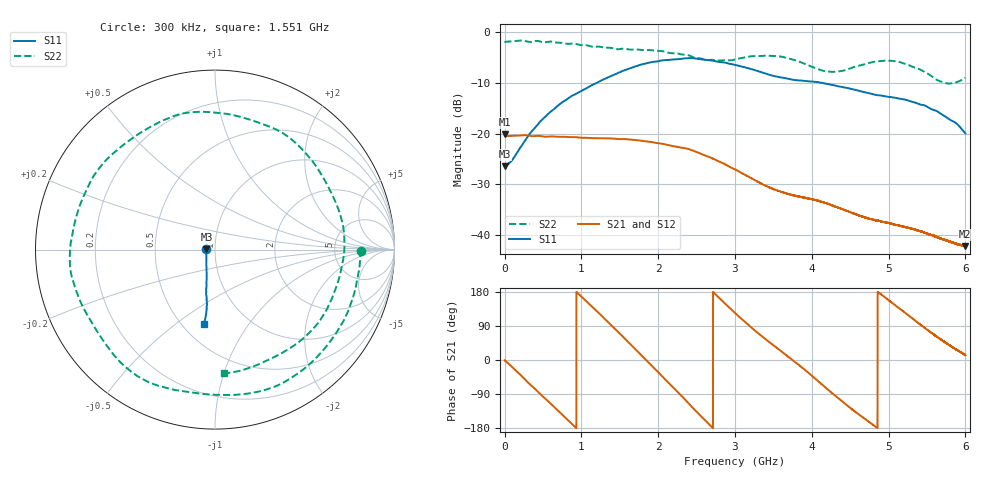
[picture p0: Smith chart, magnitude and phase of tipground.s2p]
!  8/6/2020  02:31:10
! Ref Plane: 0.000 mm
# MHZ S MA R  50
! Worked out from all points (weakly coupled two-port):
!   10001 points, 300 kHz to 6 GHz, reference 50 ohm
!   highest |S21| = -20.10 dB at 300 kHz (marker M1); lowest = -42.2 dB at 5.999 GHz (marker M2)
!   lowest |S11| = -26.4 dB at 300 kHz (marker M3), VSWR 1.10, Z = 45.5 + j0.101 ohm
!   |S11| at or under -10 dB: start of sweep to 1.195 GHz; 4.142 GHz to end of sweep
!   |S22| runs from -10.1 to -1.6 dB; largest |S21 - S12| = 0.0023
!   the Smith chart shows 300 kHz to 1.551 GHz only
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0.3  0.04763 178.7  0.09886 -1.1  0.09655 -0.8  0.8151 -0.4
291.8854  0.09169 -122.1  0.09645 -56.7  0.09665 -56.8  0.814 -84.5
596.0702  0.1641 -106.5  0.09392 -114.4  0.0941 -114.3  0.813 -171.3
825.2588  0.222 -102.7  0.09255 -158.8  0.09277 -158.9  0.7723 123.2
1000.45  0.2645 -100.3  0.09107 167.3  0.09113 167.3  0.7494 74.2
1257.237  0.3353 -98.0  0.09034 117.8  0.09049 117.8  0.7202 -0.3
1544.023  0.4181 -98.5  0.0884 60.9  0.08857 60.9  0.6912 -84.0
1788.211  0.4839 -101.6  0.08502 11.0  0.08514 11.0  0.67 -151.6
2000.6  0.52 -105.3  0.08055 -32.3  0.08069 -32.4  0.6587 152.1
2255.587  0.5448 -109.8  0.07395 -84.9  0.07416 -85.0  0.6194 85.2
2537.573  0.546 -115.7  0.06415 -144.4  0.06416 -144.4  0.5564 6.2
2782.361  0.5126 -118.3  0.05344 166.2  0.05344 166.3  0.5281 -68.0
3000.15  0.4788 -119.9  0.04426 124.3  0.04425 124.3  0.5407 -133.4
3231.139  0.4308 -120.2  0.03568 82.6  0.03565 82.5  0.5829 164.9
3514.324  0.3699 -116.2  0.02805 36.7  0.02791 36.7  0.5865 95.7
4000.3  0.3275 -105.9  0.02253 -41.4  0.02249 -41.3  0.4584 -29.9
4223.489  0.3078 -103.8  0.02009 -80.4  0.02009 -80.7  0.4104 -101.8
4488.076  0.2798 -100.3  0.01694 -124.3  0.01694 -124.2  0.4383 173.5
5000.45  0.2306 -91.2  0.01308 158.0  0.01306 157.9  0.5255 45.8
5502.625  0.1844 -86.9  0.01033 79.9  0.01031 80.1  0.3952 -76.5
5998.8  0.101 -82.0  0.007733 13.4  0.007779 12.9  0.3573 117.2
6000  0.1008 -82.0  0.007771 12.7  0.007791 12.6  0.3576 116.8
